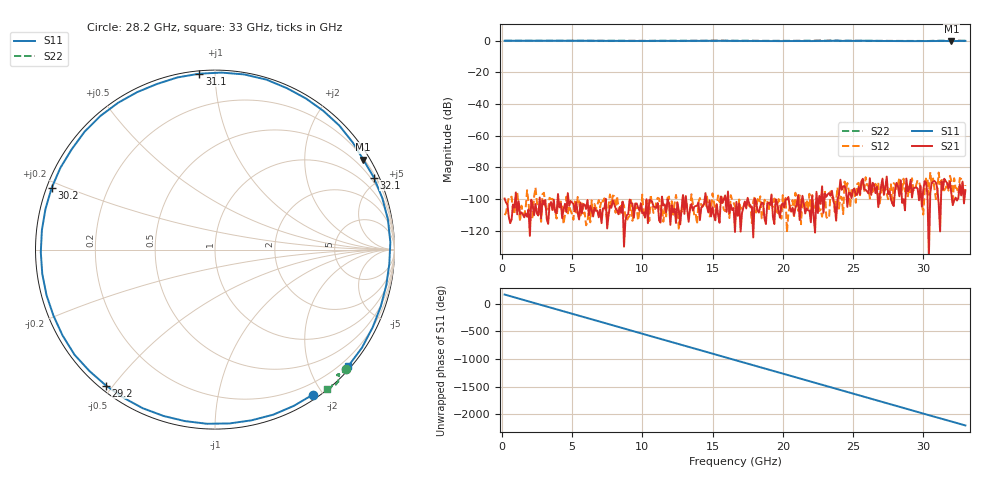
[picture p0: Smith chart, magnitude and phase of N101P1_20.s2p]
# GHZ S RI R 50
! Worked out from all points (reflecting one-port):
!   329 points, 200 MHz to 33 GHz, reference 50 ohm
!   lowest |S11| = -0.3 dB at 32 GHz (marker M1), VSWR 58.52, Z = 11.7 + j178 ohm
!   phase of S11 starts at 165 deg and turns -2367 deg over the sweep
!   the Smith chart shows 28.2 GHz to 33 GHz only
!   S11 on the Smith chart (normalised r, x): 28.2 GHz: 0.06, -1.88; 29.2 GHz: 0.02, -0.48; 30.2 GHz: 0.01, +0.18; 31.1 GHz: 0.01, +0.92; 32.1 GHz: 0.32, +4.60; 33 GHz: 0.06, -2.66
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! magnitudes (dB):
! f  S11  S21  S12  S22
! 200 MHz  0.0  -99.7  -110.2  0.0
! 5.7 GHz  0.0  -109.1  -101.5  0.0
! 8.8 GHz  -0.2  -113.6  -111.4  0.0
! 11.2 GHz  -0.1  -113.7  -99.8  -0.1
! 16.6 GHz  -0.1  -120.9  -104.9  0.0
! 22.1 GHz  -0.2  -98.2  -97.6  0.0
! 22.6 GHz  -0.1  -98.0  -107.6  0.2
! 23 GHz  -0.2  -96.6  -94.6  0.0
! 23.4 GHz  -0.1  -97.9  -95.3  0.1
! 23.9 GHz  0.0  -100.0  -92.8  0.1
! 24.1 GHz  -0.1  -87.9  -98.5  0.0
! 24.9 GHz  -0.2  -99.4  -93.4  0.0
! 25.5 GHz  0.0  -97.1  -97.6  0.0
! 27.6 GHz  -0.2  -95.2  -94.9  -0.1
! 28.2 GHz  -0.2  -92.1  -90.9  -0.1
! 29.2 GHz  -0.3  -99.1  -86.9  -0.1
! 30.2 GHz  -0.2  -89.4  -86.5  -0.2
! 31.1 GHz  -0.1  -103.0  -83.3  0.0
! 31.4 GHz  -0.1  -94.1  -94.5  0.1
! 32 GHz  -0.3  -96.6  -88.4  0.0
! 32.1 GHz  -0.2  -103.9  -103.2  0.0
! 33 GHz  -0.1  -94.5  -91.3  0.0
